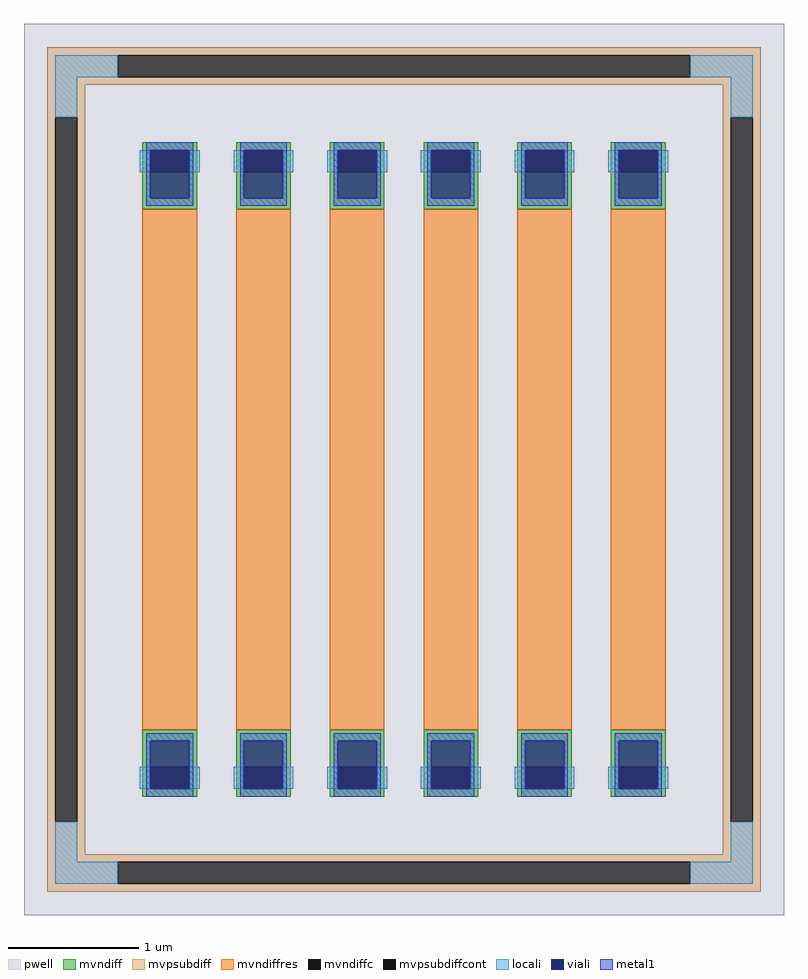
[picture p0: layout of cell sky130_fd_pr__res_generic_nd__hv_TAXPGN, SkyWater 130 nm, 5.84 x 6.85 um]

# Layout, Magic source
magic
tech sky130A
magscale 1 2
<< pwell >>
rect -584 -685 584 685
<< mvndiff >>
rect -402 491 -318 503
rect -402 457 -390 491
rect -330 457 -318 491
rect -402 400 -318 457
rect -402 -457 -318 -400
rect -402 -491 -390 -457
rect -330 -491 -318 -457
rect -402 -503 -318 -491
rect -258 491 -174 503
rect -258 457 -246 491
rect -186 457 -174 491
rect -258 400 -174 457
rect -258 -457 -174 -400
rect -258 -491 -246 -457
rect -186 -491 -174 -457
rect -258 -503 -174 -491
rect -114 491 -30 503
rect -114 457 -102 491
rect -42 457 -30 491
rect -114 400 -30 457
rect -114 -457 -30 -400
rect -114 -491 -102 -457
rect -42 -491 -30 -457
rect -114 -503 -30 -491
rect 30 491 114 503
rect 30 457 42 491
rect 102 457 114 491
rect 30 400 114 457
rect 30 -457 114 -400
rect 30 -491 42 -457
rect 102 -491 114 -457
rect 30 -503 114 -491
rect 174 491 258 503
rect 174 457 186 491
rect 246 457 258 491
rect 174 400 258 457
rect 174 -457 258 -400
rect 174 -491 186 -457
rect 246 -491 258 -457
rect 174 -503 258 -491
rect 318 491 402 503
rect 318 457 330 491
rect 390 457 402 491
rect 318 400 402 457
rect 318 -457 402 -400
rect 318 -491 330 -457
rect 390 -491 402 -457
rect 318 -503 402 -491
<< mvndiffc >>
rect -390 457 -330 491
rect -390 -491 -330 -457
rect -246 457 -186 491
rect -246 -491 -186 -457
rect -102 457 -42 491
rect -102 -491 -42 -457
rect 42 457 102 491
rect 42 -491 102 -457
rect 186 457 246 491
rect 186 -491 246 -457
rect 330 457 390 491
rect 330 -491 390 -457
<< mvpsubdiff >>
rect -548 637 548 649
rect -548 603 -440 637
rect 440 603 548 637
rect -548 591 548 603
rect -548 541 -490 591
rect -548 -541 -536 541
rect -502 -541 -490 541
rect 490 541 548 591
rect -548 -591 -490 -541
rect 490 -541 502 541
rect 536 -541 548 541
rect 490 -591 548 -541
rect -548 -603 548 -591
rect -548 -637 -440 -603
rect 440 -637 548 -603
rect -548 -649 548 -637
<< mvpsubdiffcont >>
rect -440 603 440 637
rect -536 -541 -502 541
rect 502 -541 536 541
rect -440 -637 440 -603
<< mvndiffres >>
rect -402 -400 -318 400
rect -258 -400 -174 400
rect -114 -400 -30 400
rect 30 -400 114 400
rect 174 -400 258 400
rect 318 -400 402 400
<< locali >>
rect -536 603 -440 637
rect 440 603 536 637
rect -536 541 -502 603
rect 502 541 536 603
rect -406 457 -390 491
rect -330 457 -314 491
rect -262 457 -246 491
rect -186 457 -170 491
rect -118 457 -102 491
rect -42 457 -26 491
rect 26 457 42 491
rect 102 457 118 491
rect 170 457 186 491
rect 246 457 262 491
rect 314 457 330 491
rect 390 457 406 491
rect -406 -491 -390 -457
rect -330 -491 -314 -457
rect -262 -491 -246 -457
rect -186 -491 -170 -457
rect -118 -491 -102 -457
rect -42 -491 -26 -457
rect 26 -491 42 -457
rect 102 -491 118 -457
rect 170 -491 186 -457
rect 246 -491 262 -457
rect 314 -491 330 -457
rect 390 -491 406 -457
rect -536 -603 -502 -541
rect 502 -603 536 -541
rect -536 -637 -440 -603
rect 440 -637 536 -603
<< viali >>
rect -390 457 -330 491
rect -246 457 -186 491
rect -102 457 -42 491
rect 42 457 102 491
rect 186 457 246 491
rect 330 457 390 491
rect -390 417 -330 457
rect -246 417 -186 457
rect -102 417 -42 457
rect 42 417 102 457
rect 186 417 246 457
rect 330 417 390 457
rect -390 -457 -330 -417
rect -246 -457 -186 -417
rect -102 -457 -42 -417
rect 42 -457 102 -417
rect 186 -457 246 -417
rect 330 -457 390 -417
rect -390 -491 -330 -457
rect -246 -491 -186 -457
rect -102 -491 -42 -457
rect 42 -491 102 -457
rect 186 -491 246 -457
rect 330 -491 390 -457
<< metal1 >>
rect -396 491 -324 503
rect -396 417 -390 491
rect -330 417 -324 491
rect -396 405 -324 417
rect -252 491 -180 503
rect -252 417 -246 491
rect -186 417 -180 491
rect -252 405 -180 417
rect -108 491 -36 503
rect -108 417 -102 491
rect -42 417 -36 491
rect -108 405 -36 417
rect 36 491 108 503
rect 36 417 42 491
rect 102 417 108 491
rect 36 405 108 417
rect 180 491 252 503
rect 180 417 186 491
rect 246 417 252 491
rect 180 405 252 417
rect 324 491 396 503
rect 324 417 330 491
rect 390 417 396 491
rect 324 405 396 417
rect -396 -417 -324 -405
rect -396 -491 -390 -417
rect -330 -491 -324 -417
rect -396 -503 -324 -491
rect -252 -417 -180 -405
rect -252 -491 -246 -417
rect -186 -491 -180 -417
rect -252 -503 -180 -491
rect -108 -417 -36 -405
rect -108 -491 -102 -417
rect -42 -491 -36 -417
rect -108 -503 -36 -491
rect 36 -417 108 -405
rect 36 -491 42 -417
rect 102 -491 108 -417
rect 36 -503 108 -491
rect 180 -417 252 -405
rect 180 -491 186 -417
rect 246 -491 252 -417
rect 180 -503 252 -491
rect 324 -417 396 -405
rect 324 -491 330 -417
rect 390 -491 396 -417
rect 324 -503 396 -491
<< properties >>
string FIXED_BBOX -519 -620 519 620
string gencell sky130_fd_pr__res_generic_nd__hv
string library sky130
string parameters w 0.420 l 4 m 1 nx 6 wmin 0.42 lmin 2.10 rho 120 val 1.2k dummy 0 dw 0.02 term 0.0 sterm 0.0 caplen 0.4 snake 0 guard 1 glc 1 grc 1 gtc 1 gbc 1 roverlap 0 endcov 100 full_metal 1 vias 1 viagb 0 viagt 0 viagl 0 viagr 0
<< end >>
